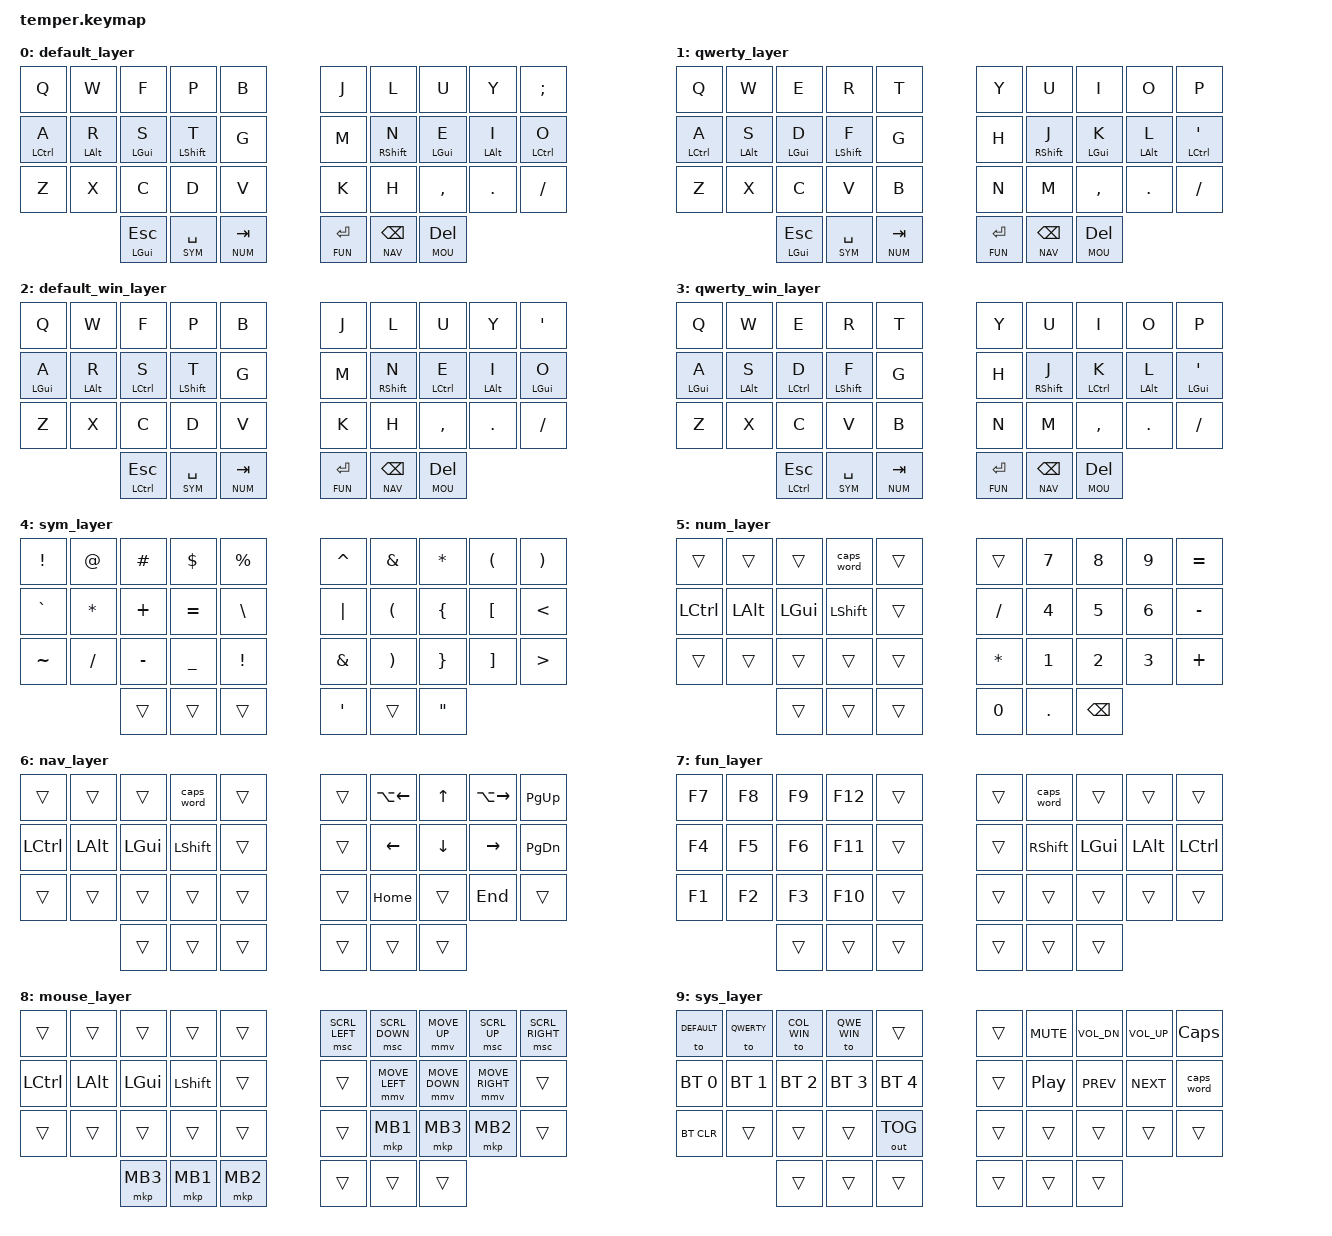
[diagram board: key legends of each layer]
/*
 * Copyright (c) 2020 The ZMK Contributors
 *
 * SPDX-License-Identifier: MIT
 */

#include <behaviors.dtsi>
#include <dt-bindings/zmk/keys.h>
#include <dt-bindings/zmk/bt.h>
#include <dt-bindings/zmk/outputs.h>
#include <dt-bindings/zmk/pointing.h>

#define DEFAULT 0
#define QWERTY 1
#define COL_WIN 2
#define QWE_WIN 3
#define SYM 4
#define NUM 5
#define NAV 6
#define FUN 7
#define MOU 8
#define SYS 9

&lt {
  flavor = "balanced";
};

/ {
    conditional_layers {
        compatible = "zmk,conditional-layers";
        tri_layer {
            if-layers = <SYM NAV>;
            then-layer = <SYS>;
        };
    };
    behaviors {
        lhrm: left_positional_hold_tap {
            compatible = "zmk,behavior-hold-tap";
            #binding-cells = <2>;
            flavor = "balanced";
            tapping-term-ms = <185>;
            require-prior-idle-ms = <120>;
            /* quick-tap-ms = <120>; */
            bindings = <&kp>, <&kp>;
            hold-trigger-key-positions = <5 6 7 8 9 15 16 17 18 19 25 26 27 28 29 30 31 32 33 34 35>;
            hold-trigger-on-release;
        };

        rhrm: right_positional_hold_tap {
            compatible = "zmk,behavior-hold-tap";
            #binding-cells = <2>;
            flavor = "balanced";
            tapping-term-ms = <185>;
            require-prior-idle-ms = <120>;
            /* quick-tap-ms = <120>; */
            bindings = <&kp>, <&kp>;
            hold-trigger-key-positions = <0 1 2 3 4 10 11 12 13 14 20 21 22 23 24 30 31 32 33 34 35>;
            hold-trigger-on-release;
        };
    };
        keymap {
                compatible = "zmk,keymap";

                default_layer {
                        bindings = <
// ╭─────────────┬─────────────┬─────────────┬─────────────┬─────────────╮   ╭─────────────┬─────────────┬─────────────┬─────────────┬─────────────╮
        &kp Q         &kp W         &kp F         &kp P         &kp B             &kp J         &kp L         &kp U         &kp Y       &kp SEMI
// ├─────────────┼─────────────┼─────────────┼─────────────┼─────────────┤   ├─────────────┼─────────────┼─────────────┼─────────────┼─────────────┤
    &lhrm LCTRL A  &lhrm LALT R  &lhrm LGUI S  &lhrm LSHFT T      &kp G          &kp M      &rhrm RSHFT N  &rhrm LGUI E  &rhrm LALT I  &rhrm LCTL O
// ├─────────────┼─────────────┼─────────────┼─────────────┼─────────────┤   ├─────────────┼─────────────┼─────────────┼─────────────┼─────────────┤
        &kp Z         &kp X         &kp C         &kp D         &kp V             &kp K         &kp H      &kp COMMA        &kp DOT         &kp SLASH
// ╰─────────────┴─────────────┼─────────────┼─────────────┼─────────────┤   ├─────────────┼─────────────┼─────────────┼─────────────┴─────────────╯
                                &mt LGUI ESC   &lt SYM SPACE     &lt NUM TAB       &lt FUN ENTER    &lt NAV BSPC   &lt MOU DEL
//                             ╰─────────────┴─────────────┴─────────────╯   ╰─────────────┴─────────────┴─────────────╯
                        >;
                };
                qwerty_layer {
                        bindings = <
// ╭─────────────┬─────────────┬─────────────┬─────────────┬─────────────╮   ╭─────────────┬─────────────┬─────────────┬─────────────┬─────────────╮
        &kp Q         &kp W         &kp E         &kp R         &kp T              &kp Y        &kp U         &kp I         &kp O         &kp P   
// ├─────────────┼─────────────┼─────────────┼─────────────┼─────────────┤   ├─────────────┼─────────────┼─────────────┼─────────────┼─────────────┤
    &lhrm LCTRL A &lhrm LALT S  &lhrm LGUI D  &lhrm LSHFT F      &kp G              &kp H     &rhrm RSHFT J  &rhrm LGUI K &rhrm LALT L  &rhrm LCTL APOS
// ├─────────────┼─────────────┼─────────────┼─────────────┼─────────────┤   ├─────────────┼─────────────┼─────────────┼─────────────┼─────────────┤
        &kp Z         &kp X         &kp C         &kp V         &kp B              &kp N        &kp M       &kp COMMA      &kp DOT      &kp SLASH
// ╰─────────────┴─────────────┼─────────────┼─────────────┼─────────────┤   ├─────────────┼─────────────┼─────────────┼─────────────┴─────────────╯
                                &mt LGUI ESC   &lt SYM SPACE     &lt NUM TAB       &lt FUN ENTER    &lt NAV BSPC   &lt MOU DEL
//                             ╰─────────────┴─────────────┴─────────────╯   ╰─────────────┴─────────────┴─────────────╯
                        >;
                };
                default_win_layer {
                        bindings = <
// ╭─────────────┬─────────────┬─────────────┬─────────────┬─────────────╮   ╭─────────────┬─────────────┬─────────────┬─────────────┬─────────────╮
        &kp Q         &kp W         &kp F         &kp P         &kp B             &kp J         &kp L         &kp U         &kp Y       &kp APOS   
// ├─────────────┼─────────────┼─────────────┼─────────────┼─────────────┤   ├─────────────┼─────────────┼─────────────┼─────────────┼─────────────┤
    &lhrm LGUI A  &lhrm LALT R  &lhrm LCTL S  &lhrm LSHFT T      &kp G          &kp M      &rhrm RSHFT N  &rhrm LCTL E  &rhrm LALT I  &rhrm LGUI O
// ├─────────────┼─────────────┼─────────────┼─────────────┼─────────────┤   ├─────────────┼─────────────┼─────────────┼─────────────┼─────────────┤
        &kp Z         &kp X         &kp C         &kp D         &kp V             &kp K         &kp H      &kp COMMA        &kp DOT         &kp SLASH
// ╰─────────────┴─────────────┼─────────────┼─────────────┼─────────────┤   ├─────────────┼─────────────┼─────────────┼─────────────┴─────────────╯
                                &mt LCTL ESC   &lt SYM SPACE     &lt NUM TAB       &lt FUN ENTER    &lt NAV BSPC   &lt MOU DEL
//                             ╰─────────────┴─────────────┴─────────────╯   ╰─────────────┴─────────────┴─────────────╯
                        >;
                };
                qwerty_win_layer {
                        bindings = <
// ╭─────────────┬─────────────┬─────────────┬─────────────┬─────────────╮   ╭─────────────┬─────────────┬─────────────┬─────────────┬─────────────╮
        &kp Q         &kp W         &kp E         &kp R         &kp T              &kp Y        &kp U         &kp I         &kp O         &kp P   
// ├─────────────┼─────────────┼─────────────┼─────────────┼─────────────┤   ├─────────────┼─────────────┼─────────────┼─────────────┼─────────────┤
    &lhrm LGUI A &lhrm LALT S  &lhrm LCTL D  &lhrm LSHFT F      &kp G              &kp H     &rhrm RSHFT J  &rhrm LCTL K &rhrm LALT L  &rhrm LGUI APOS
// ├─────────────┼─────────────┼─────────────┼─────────────┼─────────────┤   ├─────────────┼─────────────┼─────────────┼─────────────┼─────────────┤
        &kp Z         &kp X         &kp C         &kp V         &kp B              &kp N        &kp M       &kp COMMA      &kp DOT      &kp SLASH
// ╰─────────────┴─────────────┼─────────────┼─────────────┼─────────────┤   ├─────────────┼─────────────┼─────────────┼─────────────┴─────────────╯
                                &mt LCTL ESC   &lt SYM SPACE     &lt NUM TAB       &lt FUN ENTER    &lt NAV BSPC   &lt MOU DEL
//                             ╰─────────────┴─────────────┴─────────────╯   ╰─────────────┴─────────────┴─────────────╯
                        >;
                };
                sym_layer {
                        bindings = <
// ╭─────────────┬─────────────┬─────────────┬─────────────┬─────────────╮   ╭─────────────┬─────────────┬─────────────┬─────────────┬─────────────╮
      &kp EXCL        &kp AT       &kp HASH     &kp DOLLAR   &kp PERCENT        &kp CARET       &kp AMPS     &kp STAR      &kp LPAR      &kp RPAR
// ├─────────────┼─────────────┼─────────────┼─────────────┼─────────────┤   ├─────────────┼─────────────┼─────────────┼─────────────┼─────────────┤
      &kp GRAVE      &kp STAR      &kp PLUS      &kp EQUAL    &kp BSLH          &kp PIPE       &kp LPAR      &kp LBRC      &kp LBKT      &kp LT
// ├─────────────┼─────────────┼─────────────┼─────────────┼─────────────┤   ├─────────────┼─────────────┼─────────────┼─────────────┼─────────────┤
      &kp TILDE      &kp SLASH      &kp MINUS    &kp UNDER       &kp EXCL        &kp AMPS      &kp RPAR        &kp RBRC     &kp RBKT      &kp GT
// ╰─────────────┴─────────────┼─────────────┼─────────────┼─────────────┤   ├─────────────┼─────────────┼─────────────┼─────────────┴─────────────╯
                                    &trans        &trans        &trans           &kp SQT        &trans       &kp DQT
//                             ╰─────────────┴─────────────┴─────────────╯   ╰─────────────┴─────────────┴─────────────╯
                        >;
                };
                num_layer {
                        bindings = <
// ╭─────────────┬─────────────┬─────────────┬─────────────┬─────────────╮   ╭─────────────┬─────────────┬─────────────┬─────────────┬─────────────╮
        &trans       &trans        &trans      &caps_word      &trans          &trans        &kp N7        &kp N8        &kp N9        &kp EQUAL
// ├─────────────┼─────────────┼─────────────┼─────────────┼─────────────┤   ├─────────────┼─────────────┼─────────────┼─────────────┼─────────────┤
      &kp LCTRL       &kp LALT      &kp LGUI      &kp LSHFT   &trans            &kp SLASH        &kp N4        &kp N5        &kp N6        &kp MINUS
// ├─────────────┼─────────────┼─────────────┼─────────────┼─────────────┤   ├─────────────┼─────────────┼─────────────┼─────────────┼─────────────┤
        &trans       &trans        &trans        &trans        &trans            &kp STAR      &kp N1        &kp N2        &kp N3        &kp PLUS
// ╰─────────────┴─────────────┼─────────────┼─────────────┼─────────────┤   ├─────────────┼─────────────┼─────────────┼─────────────┴─────────────╯
                                    &trans        &trans        &trans            &kp N0        &kp DOT     &kp BSPC
//                             ╰─────────────┴─────────────┴─────────────╯   ╰─────────────┴─────────────┴─────────────╯
                        >;
                };

                nav_layer {
                        bindings = <
// ╭─────────────┬─────────────┬─────────────┬─────────────┬─────────────╮   ╭─────────────┬─────────────┬─────────────┬─────────────┬─────────────╮
        &trans       &trans        &trans      &caps_word      &trans            &trans      &kp LA(LEFT)    &kp UP     &kp LA(RIGHT)    &kp PG_UP
// ├─────────────┼─────────────┼─────────────┼─────────────┼─────────────┤   ├─────────────┼─────────────┼─────────────┼─────────────┼─────────────┤
      &kp LCTRL       &kp LALT      &kp LGUI      &kp LSHFT   &trans              &trans       &kp LEFT       &kp DOWN      &kp RIGHT    &kp PG_DN
// ├─────────────┼─────────────┼─────────────┼─────────────┼─────────────┤   ├─────────────┼─────────────┼─────────────┼─────────────┼─────────────┤
        &trans       &trans        &trans        &trans        &trans            &trans        &kp HOME       &trans        &kp END        &trans
// ╰─────────────┴─────────────┼─────────────┼─────────────┼─────────────┤   ├─────────────┼─────────────┼─────────────┼─────────────┴─────────────╯
                                    &trans        &trans        &trans            &trans        &trans        &trans
//                             ╰─────────────┴─────────────┴─────────────╯   ╰─────────────┴─────────────┴─────────────╯
                        >;
                };

                fun_layer {
                        bindings = <
// ╭─────────────┬─────────────┬─────────────┬─────────────┬─────────────╮   ╭─────────────┬─────────────┬─────────────┬─────────────┬─────────────╮
      &kp F7        &kp F8        &kp F9       &kp F12       &trans              &trans        &caps_word        &trans        &trans       &trans
// ├─────────────┼─────────────┼─────────────┼─────────────┼─────────────┤   ├─────────────┼─────────────┼─────────────┼─────────────┼─────────────┤
      &kp F4        &kp F5        &kp F6       &kp F11      &trans               &trans        &kp RSHFT       &kp LGUI      &kp LALT     &kp LCTRL
// ├─────────────┼─────────────┼─────────────┼─────────────┼─────────────┤   ├─────────────┼─────────────┼─────────────┼─────────────┼─────────────┤
      &kp F1        &kp F2        &kp F3       &kp F10       &trans              &trans        &trans        &trans        &trans       &trans
// ╰─────────────┴─────────────┼─────────────┼─────────────┼─────────────┤   ├─────────────┼─────────────┼─────────────┼─────────────┴─────────────╯
                                    &trans        &trans        &trans            &trans        &trans        &trans
//                             ╰─────────────┴─────────────┴─────────────╯   ╰─────────────┴─────────────┴─────────────╯
                        >;
                };
                
                mouse_layer {
                        bindings = <
// ╭─────────────┬─────────────┬─────────────┬─────────────┬─────────────╮   ╭─────────────┬─────────────┬─────────────┬─────────────┬─────────────╮
      &trans       &trans       &trans      &trans     &trans              &msc SCRL_LEFT  &msc SCRL_DOWN  &mmv MOVE_UP   &msc SCRL_UP     &msc SCRL_RIGHT
// ├─────────────┼─────────────┼─────────────┼─────────────┼─────────────┤   ├─────────────┼─────────────┼─────────────┼─────────────┼─────────────┤
      &kp LCTRL       &kp LALT      &kp LGUI      &kp LSHFT   &trans             &trans      &mmv MOVE_LEFT   &mmv MOVE_DOWN   &mmv MOVE_RIGHT      &trans
// ├─────────────┼─────────────┼─────────────┼─────────────┼─────────────┤   ├─────────────┼─────────────┼─────────────┼─────────────┼─────────────┤
      &trans     &trans       &trans      &trans       &trans                     &trans      &mkp MB1      &mkp MB3        &mkp MB2      &trans
// ╰─────────────┴─────────────┼─────────────┼─────────────┼─────────────┤   ├─────────────┼─────────────┼─────────────┼─────────────┴─────────────╯
                                   &mkp MB3     &mkp MB1     &mkp MB2            &trans        &trans        &trans
//                             ╰─────────────┴─────────────┴─────────────╯   ╰─────────────┴─────────────┴─────────────╯
                        >;
                };
                
                sys_layer {
                        bindings = <
// ╭─────────────┬─────────────┬─────────────┬─────────────┬─────────────╮   ╭─────────────┬─────────────┬─────────────┬─────────────┬─────────────╮
     &to DEFAULT   &to QWERTY   &to COL_WIN     &to QWE_WIN   &trans             &trans      &kp K_MUTE   &kp C_VOL_DN  &kp C_VOL_UP  &kp CAPSLOCK 
// ├─────────────┼─────────────┼─────────────┼─────────────┼─────────────┤   ├─────────────┼─────────────┼─────────────┼─────────────┼─────────────┤
     &bt BT_SEL 0  &bt BT_SEL 1  &bt BT_SEL 2  &bt BT_SEL 3  &bt BT_SEL 4         &trans      &kp C_PP    &kp C_PREV     &kp C_NEXT    &caps_word
// ├─────────────┼─────────────┼─────────────┼─────────────┼─────────────┤   ├─────────────┼─────────────┼─────────────┼─────────────┼─────────────┤
      &bt BT_CLR    &trans         &trans          &trans      &out OUT_TOG             &trans        &trans        &trans        &trans       &trans
// ╰─────────────┴─────────────┼─────────────┼─────────────┼─────────────┤   ├─────────────┼─────────────┼─────────────┼─────────────┴─────────────╯
                                    &trans        &trans        &trans            &trans        &trans        &trans
//                             ╰─────────────┴─────────────┴─────────────╯   ╰─────────────┴─────────────┴─────────────╯
                        >;
                };
        };
};
